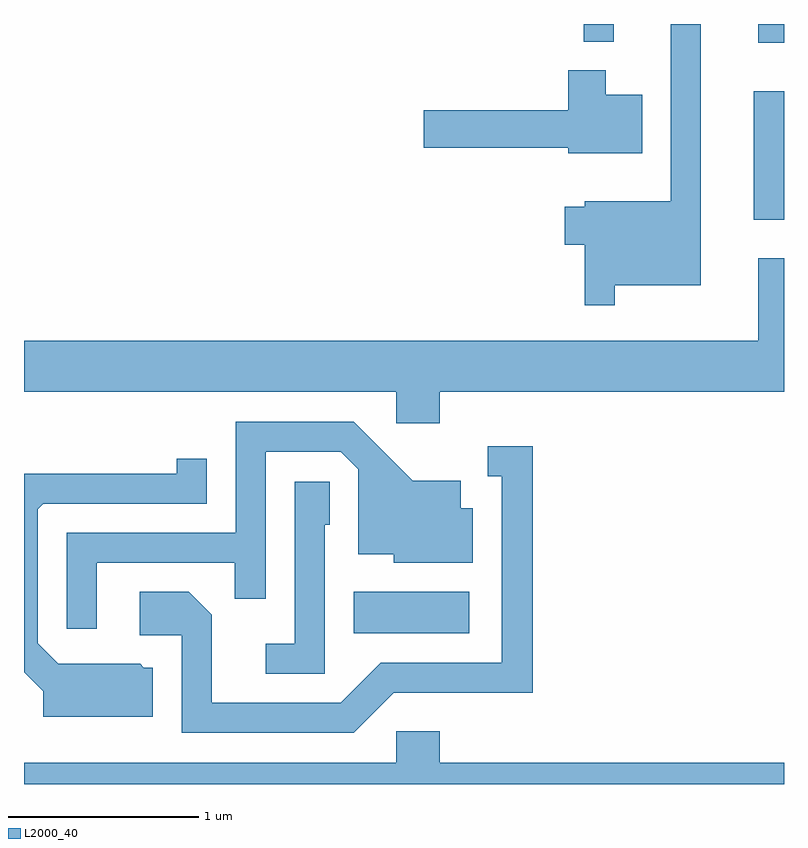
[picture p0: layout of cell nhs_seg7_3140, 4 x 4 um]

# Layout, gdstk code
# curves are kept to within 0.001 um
import gdstk
lib = gdstk.Library(unit=1e-6, precision=1e-09)
def R(c, l, rs):  # rectangles x0, y0, x1, y1
    for r in rs: c.add(gdstk.rectangle(r[:2], r[2:], *l))
def P(c, l, *ps):  # polygons
    for p in ps: c.add(gdstk.Polygon(p, *l))
L2000_40 = (2000, 40)

nhs_seg7_3140 = lib.new_cell('nhs_seg7_3140')
R(nhs_seg7_3140, L2000_40, [(283.346,1713.046,283.954,1713.264), (285.451,1715.221,285.611,1715.899), (285.476,1716.153,285.611,1716.252), (284.556,1716.158,284.714,1716.252)])
P(nhs_seg7_3140, L2000_40, [(284.719,1714.876),(285.174,1714.876),(285.174,1716.252),(285.016,1716.252),(285.016,1715.319),(284.561,1715.319),(284.561,1715.289),(284.456,1715.289),(284.456,1715.091),(284.561,1715.091),(284.561,1714.773),(284.719,1714.773)],
  [(284.864,1715.879),(284.674,1715.879),(284.674,1716.009),(284.476,1716.009),(284.476,1715.799),(283.716,1715.799),(283.716,1715.601),(284.476,1715.601),(284.476,1715.571),(284.864,1715.571)],
  [(283.799,1714.316),(285.611,1714.316),(285.611,1715.018),(285.476,1715.018),(285.476,1714.584),(281.611,1714.584),(281.611,1714.316),(283.571,1714.316),(283.571,1714.151),(283.799,1714.151)],
  [(281.994,1713.416),(282.721,1713.416),(282.721,1713.228),(282.884,1713.228),(282.884,1714.001),(283.279,1714.001),(283.371,1713.909),(283.371,1713.461),(283.556,1713.461),(283.556,1713.416),(283.974,1713.416),(283.974,1713.704),(283.909,1713.704),(283.909,1713.849),(283.657,1713.849),(283.347,1714.159),(282.726,1714.159),(282.726,1713.574),(281.836,1713.574),(281.836,1713.068),(281.994,1713.068)],
  [(283.557,1712.731),(284.289,1712.731),(284.289,1714.029),(284.053,1714.029),(284.053,1713.871),(284.126,1713.871),(284.126,1712.889),(283.489,1712.889),(283.279,1712.679),(282.599,1712.679),(282.599,1713.142),(282.477,1713.264),(282.221,1713.264),(282.221,1713.036),(282.441,1713.036),(282.441,1712.521),(283.347,1712.521)],
  [(282.289,1712.864),(282.242,1712.864),(282.222,1712.884),(281.792,1712.884),(281.684,1712.992),(281.684,1713.699),(281.712,1713.726),(282.574,1713.726),(282.574,1713.963),(282.416,1713.963),(282.416,1713.884),(281.612,1713.884),(281.611,1712.839),(281.711,1712.739),(281.711,1712.606),(282.289,1712.606)],
  [(283.194,1713.616),(283.219,1713.616),(283.219,1713.844),(283.036,1713.844),(283.036,1712.989),(282.883,1712.989),(282.883,1712.831),(283.194,1712.831)],
  [(285.611,1712.364),(283.799,1712.364),(283.799,1712.529),(283.571,1712.529),(283.571,1712.364),(281.611,1712.364),(281.611,1712.252),(285.611,1712.252)])

lib.write_gds('nhs_seg7_3140.gds')
